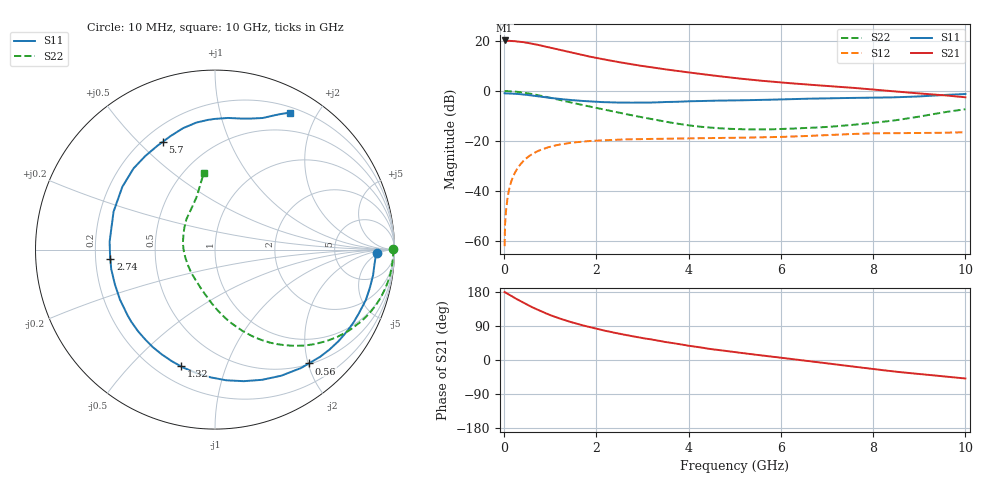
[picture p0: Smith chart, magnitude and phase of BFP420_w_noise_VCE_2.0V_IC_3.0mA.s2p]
! Infineon Technologies  Discrete & RF Semiconductors
! BFP420
! VCE =  2.0 V,  IC =  3.0 mA
! Common Emitter S-Parameters:  Jan 2016
# GHz  S  MA  R  50
!  f  S11  S21  S12  S22
! GHz  MAG  ANG  MAG  ANG  MAG  ANG  MAG  ANG
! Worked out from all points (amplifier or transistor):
!   233 points, 10 MHz to 10 GHz, reference 50 ohm
!   highest |S21| = 20.2 dB at 10 MHz (marker M1)
!   |S21| within 3 dB of that: start of sweep to 1.027 GHz
!   unconditionally stable (mu >= 1): 3.516 GHz to end of sweep
!   at 200 MHz: K = 0.04, MSG = 26.9 dB, |S12| = -33.9 dB
!   at 1.74 GHz: K = 0.46, MSG = 17.2 dB, |S12| = -20.1 dB
!   at 10 GHz: K = 1.17, MAG = 4.5 dB, |S12| = -16.5 dB
!   lowest NFmin = 0.57 dB at 900 MHz
!   S11 on the Smith chart (normalised r, x): 10 MHz: 19, -4; 560 MHz: 0.52, -2.01; 1.32 GHz: 0.29, -0.71; 2.74 GHz: 0.26, -0.04; 5.7 GHz: 0.27, +0.59; 10 GHz: 0.26, +1.65
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0.01  0.902 -1.3  10.2 179.2  0.0008 112.8  0.9909 0.1
0.02  0.8966 -1.9  9.945 178.8  0.0022 86.1  0.9927 -1.1
0.04  0.8939 -3.5  9.972 177.2  0.004 88.0  0.9926 -2.2
0.13  0.8894 -12.0  9.996 170.8  0.0132 83.2  0.9871 -7.2
0.2  0.886 -18.5  9.924 166.0  0.0201 79.8  0.9785 -11.0
0.36  0.8626 -33.1  9.588 155.0  0.0351 71.9  0.9458 -19.5
0.56  0.8218 -50.5  8.953 142.2  0.0515 62.4  0.8853 -29.2
0.7  0.7936 -62.3  8.464 133.9  0.0613 56.6  0.8376 -35.5
0.9  0.7503 -77.7  7.693 123.3  0.0726 49.3  0.7661 -43.4
1.1  0.7125 -91.9  6.963 114.0  0.0815 43.1  0.6972 -50.3
1.32  0.6774 -106.3  6.242 105.0  0.0889 37.2  0.6271 -57.0
1.68  0.6348 -127.1  5.268 92.2  0.0974 29.5  0.5293 -66.3
1.9  0.6174 -138.4  4.77 85.3  0.1011 25.6  0.4789 -71.3
2.2  0.5983 -152.3  4.213 76.9  0.1047 21.1  0.4198 -77.5
2.74  0.5853 -174.9  3.44 63.7  0.1087 14.7  0.3318 -88.5
3.4  0.5967 162.7  2.783 49.8  0.1113 9.0  0.2534 -103.1
4.3  0.6312 139.3  2.165 32.4  0.1144 3.6  0.1919 -128.7
5.1  0.6516 125.1  1.774 19.2  0.117 0.1  0.1728 -152.3
5.7  0.6676 115.8  1.566 10.4  0.1195 -1.8  0.1712 -169.9
6.8  0.7081 100.8  1.299 -5.9  0.1293 -5.5  0.1873 161.2
8.4  0.7456 78.2  0.994 -29.5  0.1437 -16.3  0.2546 122.9
10  0.8693 61.4  0.749 -48.8  0.15 -23.8  0.433 98.3
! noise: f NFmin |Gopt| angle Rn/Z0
0.9  0.57  0.35  33  0.18
1.8  1.02  0.2  79  0.14
2.4  1.1  0.23  104  0.14
3  1.25  0.24  144  0.11
4  1.46  0.33  -159  0.1
5  1.9  0.39  -128  0.22
6  2.46  0.48  -107  0.35
